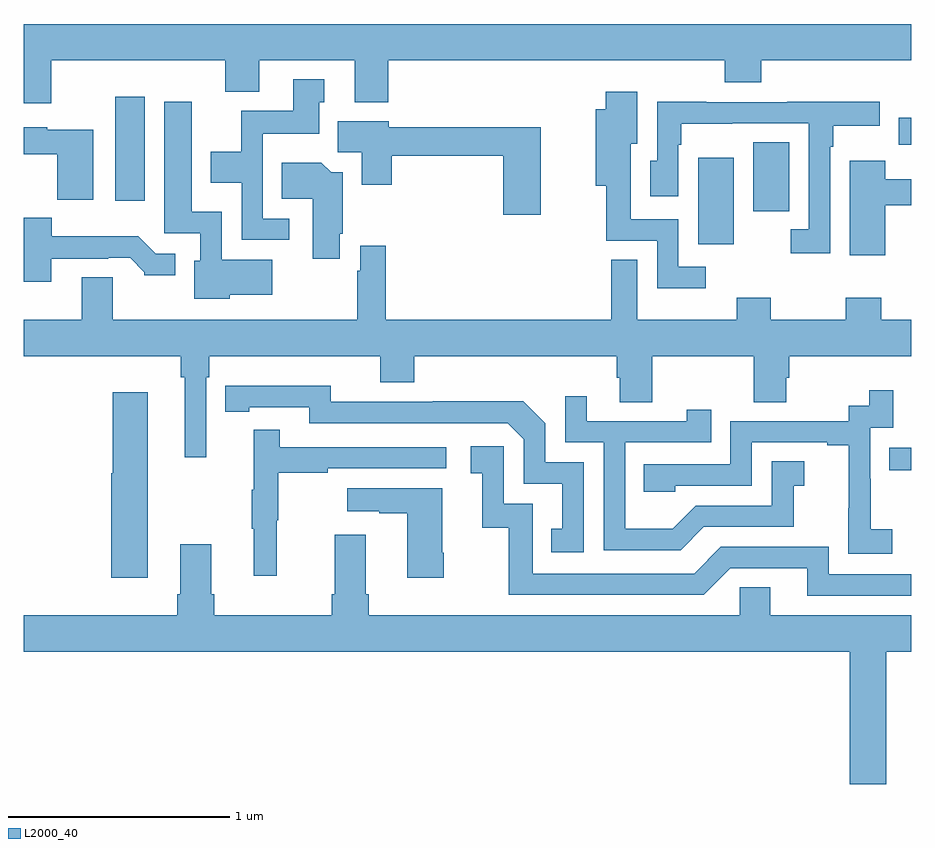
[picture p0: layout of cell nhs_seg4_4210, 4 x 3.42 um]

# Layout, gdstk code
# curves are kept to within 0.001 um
import gdstk
lib = gdstk.Library(unit=1e-6, precision=1e-09)
def R(c, l, rs):  # rectangles x0, y0, x1, y1
    for r in rs: c.add(gdstk.rectangle(r[:2], r[2:], *l))
def P(c, l, *ps):  # polygons
    for p in ps: c.add(gdstk.Polygon(p, *l))
L2000_40 = (2000, 40)

nhs_seg4_4210 = lib.new_cell('nhs_seg4_4210')
R(nhs_seg4_4210, L2000_40, [(338.899,788.314,339,788.415), (338.039,789.332,338.2,789.721), (338.288,789.48,338.449,789.791), (335.414,789.528,335.545,789.997), (338.942,789.779,339,789.901)])
P(nhs_seg4_4210, L2000_40, [(335.125,790.16),(335.909,790.16),(335.909,790.019),(336.061,790.019),(336.061,790.16),(336.491,790.16),(336.491,789.971),(336.644,789.971),(336.644,790.16),(338.159,790.16),(338.159,790.061),(338.324,790.061),(338.324,790.16),(339,790.16),(339,790.324),(335,790.324),(335,789.966),(335.125,789.966)],
  [(336.196,789.447),(336.078,789.447),(336.078,789.83),(336.331,789.83),(336.331,789.972),(336.355,789.972),(336.355,790.075),(336.215,790.075),(336.215,789.934),(335.98,789.934),(335.98,789.748),(335.843,789.748),(335.843,789.608),(335.982,789.608),(335.982,789.351),(336.196,789.351)],
  [(338.074,789.231),(337.95,789.231),(337.95,789.444),(337.735,789.444),(337.735,789.785),(337.765,789.785),(337.765,790.018),(337.622,790.018),(337.622,789.94),(337.577,789.94),(337.577,789.596),(337.624,789.596),(337.624,789.348),(337.854,789.348),(337.854,789.134),(338.074,789.134)],
  [(338.634,789.77),(338.647,789.77),(338.647,789.866),(338.857,789.866),(338.857,789.974),(338.441,789.974),(338.441,789.972),(338.075,789.972),(338.075,789.974),(337.854,789.974),(337.854,789.708),(337.823,789.708),(337.823,789.549),(337.95,789.549),(337.95,789.779),(337.963,789.779),(337.963,789.875),(338.192,789.875),(338.192,789.876),(338.538,789.876),(338.538,789.399),(338.457,789.399),(338.457,789.291),(338.634,789.291)],
  [(335.928,789.104),(336.121,789.104),(336.121,789.262),(335.892,789.262),(335.892,789.478),(335.758,789.478),(335.758,789.973),(335.633,789.973),(335.633,789.381),(335.796,789.381),(335.796,789.258),(335.768,789.258),(335.768,789.086),(335.928,789.086)],
  [(337.33,789.859),(336.646,789.859),(336.646,789.886),(336.416,789.886),(336.416,789.747),(336.524,789.747),(336.524,789.6),(336.659,789.6),(336.659,789.73),(337.16,789.73),(337.16,789.465),(337.33,789.465)],
  [(335.314,789.847),(335.106,789.847),(335.106,789.859),(335,789.859),(335,789.737),(335.152,789.737),(335.152,789.533),(335.314,789.533)],
  [(338.882,789.508),(339,789.508),(339,789.624),(338.882,789.624),(338.882,789.709),(338.723,789.709),(338.723,789.282),(338.882,789.282)],
  [(336.424,789.379),(336.437,789.379),(336.437,789.655),(336.386,789.655),(336.341,789.7),(336.163,789.7),(336.163,789.536),(336.302,789.536),(336.302,789.267),(336.424,789.267)],
  [(335.125,789.267),(335.381,789.267),(335.381,789.27),(335.48,789.27),(335.544,789.206),(335.544,789.191),(335.683,789.191),(335.683,789.288),(335.595,789.288),(335.517,789.367),(335.128,789.367),(335.128,789.451),(335,789.451),(335,789.162),(335.125,789.162)],
  [(338.29,788.62),(338.437,788.62),(338.437,788.73),(338.45,788.73),(338.45,788.828),(339,788.828),(339,788.992),(338.864,788.992),(338.864,789.091),(338.704,789.091),(338.704,788.992),(338.367,788.992),(338.367,789.091),(338.212,789.091),(338.212,788.992),(337.765,788.992),(337.765,789.263),(337.647,789.263),(337.647,788.992),(336.632,788.992),(336.632,789.325),(336.516,789.325),(336.516,789.212),(336.504,789.212),(336.504,788.992),(335.401,788.992),(335.401,789.182),(335.261,789.182),(335.261,788.992),(335,788.992),(335,788.828),(335.707,788.828),(335.707,788.732),(335.726,788.732),(335.726,788.373),(335.823,788.373),(335.823,788.732),(335.837,788.732),(335.837,788.828),(336.608,788.828),(336.608,788.711),(336.761,788.711),(336.761,788.828),(337.673,788.828),(337.673,788.73),(337.685,788.73),(337.685,788.62),(337.833,788.62),(337.833,788.828),(338.29,788.828)],
  [(337.524,788.349),(337.35,788.349),(337.35,788.526),(337.252,788.624),(336.844,788.624),(336.844,788.622),(336.384,788.622),(336.384,788.695),(335.908,788.694),(335.908,788.578),(336.016,788.578),(336.016,788.598),(336.288,788.598),(336.288,788.526),(337.182,788.526),(337.254,788.454),(337.254,788.253),(337.427,788.253),(337.427,788.049),(337.378,788.049),(337.378,787.944),(337.524,787.944)],
  [(338.914,788.047),(338.816,788.047),(338.816,788.276),(338.814,788.276),(338.814,788.505),(338.919,788.505),(338.919,788.674),(338.811,788.674),(338.811,788.604),(338.718,788.604),(338.718,788.535),(338.184,788.535),(338.184,788.34),(337.795,788.34),(337.795,788.217),(337.935,788.217),(337.935,788.244),(338.28,788.244),(338.28,788.439),(338.621,788.439),(338.621,788.427),(338.717,788.427),(338.717,788.143),(338.716,788.143),(338.716,787.937),(338.914,787.937)],
  [(335.56,788.665),(335.402,788.665),(335.402,788.301),(335.396,788.301),(335.396,787.83),(335.56,787.83)],
  [(338.065,788.058),(338.469,788.058),(338.469,788.243),(338.518,788.243),(338.518,788.353),(338.37,788.353),(338.37,788.154),(338.028,788.154),(337.924,788.05),(337.71,788.05),(337.71,788.439),(338.099,788.439),(338.099,788.587),(337.988,788.587),(337.988,788.535),(337.537,788.535),(337.537,788.647),(337.44,788.647),(337.44,788.439),(337.614,788.439),(337.614,787.953),(337.96,787.953)],
  [(336.14,788.088),(336.148,788.088),(336.148,788.302),(336.371,788.302),(336.371,788.322),(336.904,788.322),(336.904,788.418),(336.155,788.418),(336.155,788.497),(336.038,788.497),(336.038,788.225),(336.027,788.225),(336.027,788.051),(336.038,788.051),(336.038,787.839),(336.14,787.839)],
  [(339,787.845),(338.628,787.845),(338.628,787.968),(338.142,787.968),(338.022,787.848),(337.293,787.848),(337.293,788.163),(337.164,788.163),(337.164,788.422),(337.014,788.422),(337.014,788.301),(337.067,788.301),(337.067,788.055),(337.185,788.055),(337.185,787.752),(338.064,787.752),(338.184,787.872),(338.531,787.872),(338.531,787.749),(339,787.749)],
  [(336.894,787.942),(336.886,787.942),(336.886,788.233),(336.459,788.233),(336.459,788.129),(336.602,788.129),(336.602,788.119),(336.728,788.119),(336.728,787.83),(336.894,787.83)],
  [(338.887,787.496),(339,787.496),(339,787.66),(338.365,787.66),(338.365,787.787),(338.226,787.787),(338.226,787.66),(336.554,787.66),(336.554,787.756),(336.541,787.756),(336.541,788.023),(336.401,788.023),(336.401,787.756),(336.389,787.756),(336.389,787.66),(335.858,787.66),(335.858,787.756),(335.845,787.756),(335.845,787.981),(335.705,787.981),(335.705,787.756),(335.693,787.756),(335.693,787.66),(335,787.66),(335,787.496),(338.723,787.496),(338.723,786.9),(338.887,786.9)])

lib.write_gds('nhs_seg4_4210.gds')
